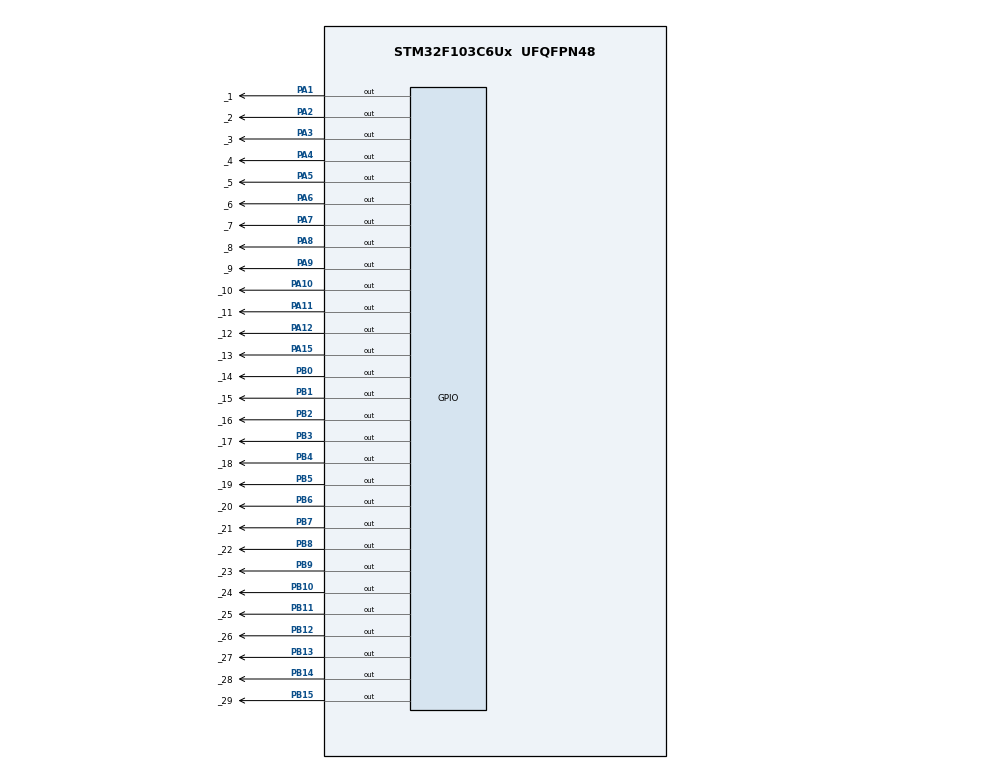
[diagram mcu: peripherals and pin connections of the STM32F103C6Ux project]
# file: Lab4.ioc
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Mcu.Family=STM32F1
Mcu.Name=STM32F103C6Ux
Mcu.Package=UFQFPN48
NVIC.PriorityGroup=NVIC_PRIORITYGROUP_4
NVIC.TIM2_IRQn=true\:0\:0\:false\:false\:true\:true\:true\:true
PA1.GPIO_Label=_1
PA1.Signal=GPIO_Output
PA10.GPIO_Label=_10
PA10.Signal=GPIO_Output
PA11.GPIO_Label=_11
PA11.Signal=GPIO_Output
PA12.GPIO_Label=_12
PA12.Signal=GPIO_Output
PA13.Mode=Serial_Wire
PA13.Signal=SYS_JTMS-SWDIO
PA14.Mode=Serial_Wire
PA14.Signal=SYS_JTCK-SWCLK
PA15.GPIO_Label=_13
PA15.Signal=GPIO_Output
PA2.GPIO_Label=_2
PA2.Signal=GPIO_Output
PA3.GPIO_Label=_3
PA3.Signal=GPIO_Output
PA4.GPIO_Label=_4
PA4.Signal=GPIO_Output
PA5.GPIO_Label=_5
PA5.Signal=GPIO_Output
PA6.GPIO_Label=_6
PA6.Signal=GPIO_Output
PA7.GPIO_Label=_7
PA7.Signal=GPIO_Output
PA8.GPIO_Label=_8
PA8.Signal=GPIO_Output
PA9.GPIO_Label=_9
PA9.Signal=GPIO_Output
PB0.GPIO_Label=_14
PB0.Signal=GPIO_Output
PB1.GPIO_Label=_15
PB1.Signal=GPIO_Output
PB10.GPIO_Label=_24
PB10.Signal=GPIO_Output
PB11.GPIO_Label=_25
PB11.Signal=GPIO_Output
PB12.GPIO_Label=_26
PB12.Signal=GPIO_Output
PB13.GPIO_Label=_27
PB13.Signal=GPIO_Output
PB14.GPIO_Label=_28
PB14.Signal=GPIO_Output
PB15.GPIO_Label=_29
PB15.Signal=GPIO_Output
PB2.GPIO_Label=_16
PB2.Signal=GPIO_Output
PB3.GPIO_Label=_17
PB3.Signal=GPIO_Output
PB4.GPIO_Label=_18
PB4.Signal=GPIO_Output
PB5.GPIO_Label=_19
PB5.Signal=GPIO_Output
PB6.GPIO_Label=_20
PB6.Signal=GPIO_Output
PB7.GPIO_Label=_21
PB7.Signal=GPIO_Output
PB8.GPIO_Label=_22
PB8.Signal=GPIO_Output
PB9.GPIO_Label=_23
PB9.Signal=GPIO_Output
ProjectManager.HeapSize=0x200
ProjectManager.StackSize=0x400
ProjectManager.TargetToolchain=STM32CubeIDE
RCC.APB1Freq_Value=8000000
RCC.APB2Freq_Value=8000000
TIM2.Period=9
TIM2.Prescaler=7999
VP_TIM2_VS_ClockSourceINT.Mode=Internal
board=custom

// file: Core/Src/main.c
/* USER CODE BEGIN Header */
/**
  ******************************************************************************
  * @file           : main.c
  * @brief          : Main program body
  ******************************************************************************
  * @attention
  *
  * Copyright (c) 2025 STMicroelectronics.
  * All rights reserved.
  *
  * This software is licensed under terms that can be found in the LICENSE file
  * in the root directory of this software component.
  * If no LICENSE file comes with this software, it is provided AS-IS.
  *
  ******************************************************************************
  */
/* USER CODE END Header */
#include "main.h"

/* USER CODE BEGIN Includes */
#include "scheduler.h"
#include "global.h"
#include <stdio.h>
/* USER CODE END Includes */

TIM_HandleTypeDef htim2;

/* USER CODE BEGIN PV */
uint32_t task_id_1 = 0;   // Store task IDs for dynamic deletion
uint32_t task_id_2 = 0;
uint32_t task_id_3 = 0;
uint32_t task_id_4 = 0;
uint32_t task_id_5 = 0;
uint32_t task_id_6 = 0;
uint32_t task_id_7 = 0;
uint8_t demo_phase = 0;    // Track which demo phase we're in
/* USER CODE END PV */

void SystemClock_Config(void);
static void MX_GPIO_Init(void);
static void MX_TIM2_Init(void);
/* USER CODE BEGIN PFP */
void display7SEG(unsigned char number);
void oneshot_startup(void);
void oneshot_delete_task1(void);
void oneshot_delete_task7(void);
void oneshot_final_cleanup(void);
/* USER CODE END PFP */

/* USER CODE BEGIN 0 */

/**
 * ============================================================================
 * SCHEDULER DEMO TASKS
 * ============================================================================
 * These tasks demonstrate the scheduler's ability to run multiple periodic
 * tasks at different intervals. Each task toggles an LED to provide visual
 * feedback of the timing accuracy.
 *
 * The tasks run at:
 * - 500ms (2 Hz) - PA15/Pin13 (blinkLED_SYS) - System status LED
 * - 500ms (2 Hz) - PA1 (blinkPin_1) - Task 1 indicator
 * - 1000ms (1 Hz) - PA2 (blinkPin_2) - Task 2 indicator
 * - 1500ms (0.67 Hz) - PA3 (blinkPin_3) - Task 3 indicator
 * - 2000ms (0.5 Hz) - PA4 (blinkPin_4) - Task 4 indicator
 * - 2500ms (0.4 Hz) - PA5 (blinkPin_5) - Task 5 indicator
 * - 3000ms (0.33 Hz) - PA6 (blinkPin_6) - Task 6 indicator
 * - 3500ms (0.29 Hz) - PA7 (blinkPin_7) - Task 7 indicator
 *
 * Note: Multiple tasks can have the same period. They execute sequentially
 * in the same scheduler dispatch cycle.
 *
 * 7-Segment Display Mapping (PB0-PB6):
 * PB0 (_14) = segment a    PB3 (_17) = segment d    PB6 (_20) = segment g
 * PB1 (_15) = segment b    PB4 (_18) = segment e
 * PB2 (_16) = segment c    PB5 (_19) = segment f
 * ============================================================================
 */

void blinkLED_SYS(void) {
    // Toggle LED_SYS on pin PA15 (pin 13)
    HAL_GPIO_TogglePin(_13_GPIO_Port, _13_Pin);
    // This task runs concurrently with blinkPin_1 at the same 500ms interval
    //printf("Task 500ms Pin13 - Time: %lu ms\n", SCH_Get_Time() * 10);
}

void blinkPin_1(void) {
    // Toggle LED on pin PA1 (example)
    HAL_GPIO_TogglePin(_1_GPIO_Port, _1_Pin);
    display7SEG(1);
    // Print timestamp (if UART is configured)
    // printf("blinkPin_1 - Task 500ms - Time: %lu ms\n", SCH_Get_Time() * 10);
}

void blinkPin_2(void) {
    // Toggle LED on pin PA2 (example)
    HAL_GPIO_TogglePin(_2_GPIO_Port, _2_Pin);
    display7SEG(2);
    // printf("blinkPin_2 - Task 1000ms - Time: %lu ms\n", SCH_Get_Time() * 10);
}

void blinkPin_3(void) {
    // Toggle LED on pin PA3 (example)
    HAL_GPIO_TogglePin(_3_GPIO_Port, _3_Pin);
    display7SEG(3);
    // printf("blinkPin_3 - Task 1500ms - Time: %lu ms\n", SCH_Get_Time() * 10);
}

void blinkPin_4(void) {
    // Toggle LED on pin PA4 (example)
    HAL_GPIO_TogglePin(_4_GPIO_Port, _4_Pin);
    display7SEG(4);
    // printf("blinkPin_4 - Task 2000ms - Time: %lu ms\n", SCH_Get_Time() * 10);
}

void blinkPin_5(void) {
    // Toggle LED on pin PA5 (example)
    HAL_GPIO_TogglePin(_5_GPIO_Port, _5_Pin);
    display7SEG(5);
    // printf("blinkPin_5 - Task 2500ms - Time: %lu ms\n", SCH_Get_Time() * 10);
}

void blinkPin_6(void) {
    // Toggle LED on pin PA6 (example)
    HAL_GPIO_TogglePin(_6_GPIO_Port, _6_Pin);
    display7SEG(6);
    // printf("blinkPin_6 - Task 3000ms - Time: %lu ms\n", SCH_Get_Time() * 10);
}

void blinkPin_7(void) {
    // Toggle LED on pin PA7 (example)
    HAL_GPIO_TogglePin(_7_GPIO_Port, _7_Pin);
    display7SEG(7);
    // printf("blinkPin_7 - Task 3500ms - Time: %lu ms\n", SCH_Get_Time() * 10);
}

void display7SEG(unsigned char number) {
    uint8_t anode7SEG_map[11] = {
        0b0000001, //0
        0b1001111, //1
        0b0010010, //2
        0b0000110, //3
        0b1001100, //4
        0b0100100, //5
        0b0100000, //6
        0b0001111, //7
        0b0000000, //8
        0b0000100, //9
        0b1111111  //All segments off
    };

    // Display the current number on 7-segment (PB0-PB6: segments a-g)
    HAL_GPIO_WritePin(_14_GPIO_Port, _14_Pin, (anode7SEG_map[number] & 0x40) ? GPIO_PIN_SET : GPIO_PIN_RESET);  // a
    HAL_GPIO_WritePin(_15_GPIO_Port, _15_Pin, (anode7SEG_map[number] & 0x20) ? GPIO_PIN_SET : GPIO_PIN_RESET);  // b
    HAL_GPIO_WritePin(_16_GPIO_Port, _16_Pin, (anode7SEG_map[number] & 0x10) ? GPIO_PIN_SET : GPIO_PIN_RESET);  // c
    HAL_GPIO_WritePin(_17_GPIO_Port, _17_Pin, (anode7SEG_map[number] & 0x08) ? GPIO_PIN_SET : GPIO_PIN_RESET);  // d
    HAL_GPIO_WritePin(_18_GPIO_Port, _18_Pin, (anode7SEG_map[number] & 0x04) ? GPIO_PIN_SET : GPIO_PIN_RESET);  // e
    HAL_GPIO_WritePin(_19_GPIO_Port, _19_Pin, (anode7SEG_map[number] & 0x02) ? GPIO_PIN_SET : GPIO_PIN_RESET);  // f
    HAL_GPIO_WritePin(_20_GPIO_Port, _20_Pin, (anode7SEG_map[number] & 0x01) ? GPIO_PIN_SET : GPIO_PIN_RESET);  // g
    // printf("display7SEG - Current Number: %d - Time: %lu ms\n", number, SCH_Get_Time() * 10);
}

// ============================================================================
// ONE-SHOT TASKS - Execute once and automatically deleted
// ============================================================================

void oneshot_startup(void) {
    // Startup
    HAL_GPIO_WritePin(_13_GPIO_Port, _13_Pin, GPIO_PIN_SET);
    HAL_Delay(750);
    // printf("Startup complete - Time: %lu ms\n", SCH_Get_Time() * 10);
}

void oneshot_delete_task1(void) {
    // Delete task 1 after 5 seconds
    if (task_id_1 != 0) {
        SCH_Delete_Task(task_id_1);
        //HAL_GPIO_WritePin(_1_GPIO_Port, _1_Pin, GPIO_PIN_RESET); // Ensure LED is off
        // task_id_1 = 0;
        // printf("Task 1 deleted - Time: %lu ms\n", SCH_Get_Time() * 10);
    }
}

void oneshot_delete_task7(void) {
    // Delete task 7 after 10 seconds
    if (task_id_7 != 0) {
        SCH_Delete_Task(task_id_7);
        //HAL_GPIO_WritePin(_7_GPIO_Port, _7_Pin, GPIO_PIN_RESET); // Ensure LED is off
        //task_id_7 = 0;
        // printf("Task 7 deleted - Time: %lu ms\n", SCH_Get_Time() * 10);
    }
}

void oneshot_final_cleanup(void) {
    // After 20 seconds, delete all remaining tasks one by one
    // Check if task IDs are valid before deleting
    if (task_id_1 != 0) SCH_Delete_Task(task_id_1);
    if (task_id_2 != 0) SCH_Delete_Task(task_id_2);
    if (task_id_3 != 0) SCH_Delete_Task(task_id_3);
    if (task_id_4 != 0) SCH_Delete_Task(task_id_4);
    if (task_id_5 != 0) SCH_Delete_Task(task_id_5);
    if (task_id_6 != 0) SCH_Delete_Task(task_id_6);
    if (task_id_7 != 0) SCH_Delete_Task(task_id_7);

    // Turn off all LEDs
    //HAL_GPIO_WritePin(_1_GPIO_Port, _1_Pin, GPIO_PIN_RESET);
    //HAL_GPIO_WritePin(_2_GPIO_Port, _2_Pin, GPIO_PIN_RESET);
    //HAL_GPIO_WritePin(_3_GPIO_Port, _3_Pin, GPIO_PIN_RESET);
    //HAL_GPIO_WritePin(_4_GPIO_Port, _4_Pin, GPIO_PIN_RESET);
    //HAL_GPIO_WritePin(_5_GPIO_Port, _5_Pin, GPIO_PIN_RESET);
    //HAL_GPIO_WritePin(_6_GPIO_Port, _6_Pin, GPIO_PIN_RESET);
    //HAL_GPIO_WritePin(_7_GPIO_Port, _7_Pin, GPIO_PIN_RESET);

    display7SEG(10);  // Turn off 7-seg
    demo_phase = 1;  // Enter sleep mode
    // printf("All tasks deleted, entering sleep mode - Time: %lu ms\n", SCH_Get_Time() * 10);
}

/* USER CODE END 0 */

int main(void)
{

  /* MCU Configuration--------------------------------------------------------*/

  /* Reset of all peripherals, Initializes the Flash interface and the Systick. */
  HAL_Init();

  /* Configure the system clock */
  SystemClock_Config();

  /* Initialize all configured peripherals */
  MX_GPIO_Init();
  MX_TIM2_Init();
  /* USER CODE BEGIN 2 */

  /**
   * ============================================================================
   * SCHEDULER INITIALIZATION - ADVANCED DEMO
   * ============================================================================
   * This demo showcases:
   * 1. Periodic tasks running at different intervals
   * 2. One-shot tasks that execute once and auto-delete
   * 3. Dynamic task deletion using SCH_Delete_Task()
   * 4. Dynamic task addition using SCH_Add_Task()
   * 5. Sleep mode when no tasks are scheduled
   *
   * Timeline:
   * - 0s: All periodic tasks start + startup one-shot
   * - 5s: Task 1 (500ms) is deleted dynamically
   * - 10s: Task 7 (3500ms) is deleted dynamically
   * - 15s: Task 1 is re-added but with 1000ms period
   * - 20s: All tasks deleted, system enters sleep mode
   * ============================================================================
   */

  // Initialize the scheduler
  SCH_Init();

  // Start the timer interrupt (10ms period)
  HAL_TIM_Base_Start_IT(&htim2);

  // ========== ONE-SHOT TASKS (Period = 0) ==========
  // These execute once at specified delay and are automatically deleted
  SCH_Add_Task(oneshot_startup, 10, 0);           // Startup animation at 100ms
  SCH_Add_Task(oneshot_delete_task1, 500, 0);    // Delete task1 at 5s
  SCH_Add_Task(oneshot_delete_task7, 1100, 0);   // Delete task7 at 11s
  SCH_Add_Task(oneshot_final_cleanup, 2500, 0);  // Cleanup at 25s

  // ========== PERIODIC TASKS ==========
  // These run continuously until explicitly deleted
  SCH_Add_Task(blinkLED_SYS, 0, 50);             // System heartbeat
  task_id_1 = SCH_Add_Task(blinkPin_1, 0, 50);   // Store ID for deletion
  task_id_2 =SCH_Add_Task(blinkPin_2, 0, 100);
  task_id_3 = SCH_Add_Task(blinkPin_3, 0, 150);
  task_id_4 = SCH_Add_Task(blinkPin_4, 0, 200);
  task_id_5 = SCH_Add_Task(blinkPin_5, 0, 250);
  task_id_6 = SCH_Add_Task(blinkPin_6, 0, 300);
  task_id_7 = SCH_Add_Task(blinkPin_7, 0, 350);  // Store ID for deletion

  /* USER CODE END 2 */

  /* Infinite loop */
  while (1)
  {

    /* USER CODE BEGIN 3 */
    /**
     * =========================================================================
     * MAIN SCHEDULER LOOP WITH SLEEP MODE
     * =========================================================================
     * The main loop continuously dispatches tasks that are ready to run.
     *
     * When demo_phase = 1 (all tasks deleted), the system enters sleep mode
     * to save power. The CPU will wake up every 10ms on timer interrupt but
     * will have no tasks to execute, demonstrating low-power operation.
     *
     * Sleep mode benefits:
     * - Reduces power consumption when idle
     * - CPU can still wake on interrupts (timer, GPIO, etc.)
     * - Useful for battery-powered applications
     * =========================================================================
     */

    // Dispatch any ready tasks
    SCH_Dispatch_Tasks();

    // Enter sleep mode if all tasks are done (demo_phase = 1)
    if (demo_phase == 1) {
        // Enter sleep mode (CPU halts until next interrupt)
        // __WFI() = Wait For Interrupt
        // CPU will wake every 10ms on timer interrupt, check for tasks, then sleep again
        __WFI();
    }
  }
  /* USER CODE END 3 */
}

void SystemClock_Config(void)
{
  RCC_OscInitTypeDef RCC_OscInitStruct = {0};
  RCC_ClkInitTypeDef RCC_ClkInitStruct = {0};

  /** Initializes the RCC Oscillators according to the specified parameters
  * in the RCC_OscInitTypeDef structure.
  */
  RCC_OscInitStruct.OscillatorType = RCC_OSCILLATORTYPE_HSI;
  RCC_OscInitStruct.HSIState = RCC_HSI_ON;
  RCC_OscInitStruct.HSICalibrationValue = RCC_HSICALIBRATION_DEFAULT;
  RCC_OscInitStruct.PLL.PLLState = RCC_PLL_NONE;
  if (HAL_RCC_OscConfig(&RCC_OscInitStruct) != HAL_OK)
  {
    Error_Handler();
  }

  /** Initializes the CPU, AHB and APB buses clocks
  */
  RCC_ClkInitStruct.ClockType = RCC_CLOCKTYPE_HCLK|RCC_CLOCKTYPE_SYSCLK
                              |RCC_CLOCKTYPE_PCLK1|RCC_CLOCKTYPE_PCLK2;
  RCC_ClkInitStruct.SYSCLKSource = RCC_SYSCLKSOURCE_HSI;
  RCC_ClkInitStruct.AHBCLKDivider = RCC_SYSCLK_DIV1;
  RCC_ClkInitStruct.APB1CLKDivider = RCC_HCLK_DIV1;
  RCC_ClkInitStruct.APB2CLKDivider = RCC_HCLK_DIV1;

  if (HAL_RCC_ClockConfig(&RCC_ClkInitStruct, FLASH_LATENCY_0) != HAL_OK)
  {
    Error_Handler();
  }
}

static void MX_TIM2_Init(void)
{

  TIM_ClockConfigTypeDef sClockSourceConfig = {0};
  TIM_MasterConfigTypeDef sMasterConfig = {0};

  htim2.Instance = TIM2;
  htim2.Init.Prescaler = 7999;
  htim2.Init.CounterMode = TIM_COUNTERMODE_UP;
  htim2.Init.Period = 9;
  htim2.Init.ClockDivision = TIM_CLOCKDIVISION_DIV1;
  htim2.Init.AutoReloadPreload = TIM_AUTORELOAD_PRELOAD_DISABLE;
  if (HAL_TIM_Base_Init(&htim2) != HAL_OK)
  {
    Error_Handler();
  }
  sClockSourceConfig.ClockSource = TIM_CLOCKSOURCE_INTERNAL;
  if (HAL_TIM_ConfigClockSource(&htim2, &sClockSourceConfig) != HAL_OK)
  {
    Error_Handler();
  }
  sMasterConfig.MasterOutputTrigger = TIM_TRGO_RESET;
  sMasterConfig.MasterSlaveMode = TIM_MASTERSLAVEMODE_DISABLE;
  if (HAL_TIMEx_MasterConfigSynchronization(&htim2, &sMasterConfig) != HAL_OK)
  {
    Error_Handler();
  }

}

static void MX_GPIO_Init(void)
{
  GPIO_InitTypeDef GPIO_InitStruct = {0};

  /* GPIO Ports Clock Enable */
  __HAL_RCC_GPIOA_CLK_ENABLE();
  __HAL_RCC_GPIOB_CLK_ENABLE();

  /*Configure GPIO pin Output Level */
  HAL_GPIO_WritePin(GPIOA, _1_Pin|_2_Pin|_3_Pin|_4_Pin
                          |_5_Pin|_6_Pin|_7_Pin|_8_Pin
                          |_9_Pin|_10_Pin|_11_Pin|_12_Pin
                          |_13_Pin, GPIO_PIN_RESET);

  /*Configure GPIO pin Output Level */
  HAL_GPIO_WritePin(GPIOB, _14_Pin|_15_Pin|_16_Pin|_24_Pin
                          |_25_Pin|_26_Pin|_27_Pin|_28_Pin
                          |_29_Pin|_17_Pin|_18_Pin|_19_Pin
                          |_20_Pin|_21_Pin|_22_Pin|_23_Pin, GPIO_PIN_RESET);

  /*Configure GPIO pins : _1_Pin _2_Pin _3_Pin _4_Pin
                           _5_Pin _6_Pin _7_Pin _8_Pin
                           _9_Pin _10_Pin _11_Pin _12_Pin
                           _13_Pin */
  GPIO_InitStruct.Pin = _1_Pin|_2_Pin|_3_Pin|_4_Pin
                          |_5_Pin|_6_Pin|_7_Pin|_8_Pin
                          |_9_Pin|_10_Pin|_11_Pin|_12_Pin
                          |_13_Pin;
  GPIO_InitStruct.Mode = GPIO_MODE_OUTPUT_PP;
  GPIO_InitStruct.Pull = GPIO_NOPULL;
  GPIO_InitStruct.Speed = GPIO_SPEED_FREQ_LOW;
  HAL_GPIO_Init(GPIOA, &GPIO_InitStruct);

  /*Configure GPIO pins : _14_Pin _15_Pin _16_Pin _24_Pin
                           _25_Pin _26_Pin _27_Pin _28_Pin
                           _29_Pin _17_Pin _18_Pin _19_Pin
                           _20_Pin _21_Pin _22_Pin _23_Pin */
  GPIO_InitStruct.Pin = _14_Pin|_15_Pin|_16_Pin|_24_Pin
                          |_25_Pin|_26_Pin|_27_Pin|_28_Pin
                          |_29_Pin|_17_Pin|_18_Pin|_19_Pin
                          |_20_Pin|_21_Pin|_22_Pin|_23_Pin;
  GPIO_InitStruct.Mode = GPIO_MODE_OUTPUT_PP;
  GPIO_InitStruct.Pull = GPIO_NOPULL;
  GPIO_InitStruct.Speed = GPIO_SPEED_FREQ_LOW;
  HAL_GPIO_Init(GPIOB, &GPIO_InitStruct);

}

void Error_Handler(void)
{
  __disable_irq();
  while (1)
  {
  }
}
